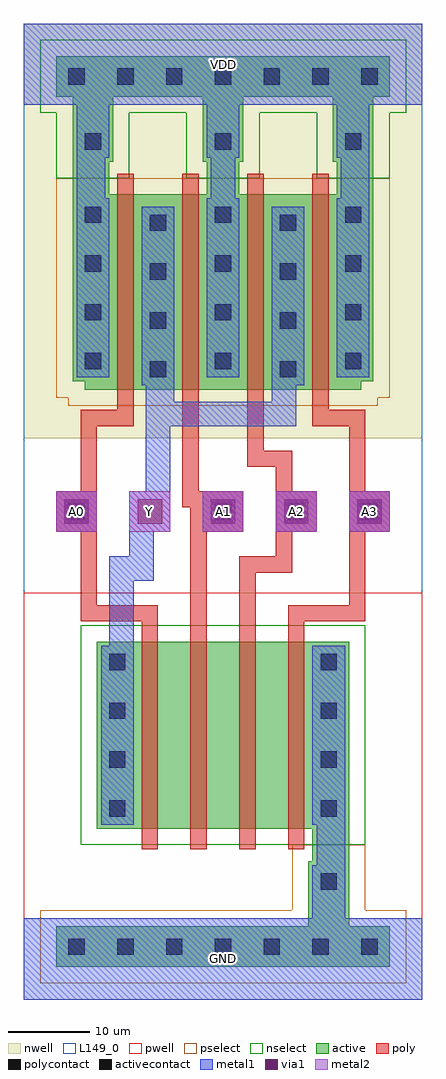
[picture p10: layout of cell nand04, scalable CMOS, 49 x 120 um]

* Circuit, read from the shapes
.subckt nand04 A0 A1 A2 A3 GND VDD Y
M1 n1 A0 Y GND nfet w=23u l=2u
M2 n2 A1 n1 GND nfet w=23u l=2u
M3 n3 A2 n2 GND nfet w=23u l=2u
M4 GND A3 n3 GND nfet w=23u l=2u
M5 Y A0 VDD VDD pfet w=24u l=2u
M6 VDD A1 Y VDD pfet w=24u l=2u
M7 Y A2 VDD VDD pfet w=24u l=2u
M8 VDD A3 Y VDD pfet w=24u l=2u
.ends

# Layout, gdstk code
from math import pi, radians
import gdstk
lib = gdstk.Library(unit=1e-6, precision=1e-09)
def R(c, l, rs):  # rectangles x0, y0, x1, y1
    for r in rs: c.add(gdstk.rectangle(r[:2], r[2:], *l))
def A(c, l, x, y, w, h, nx, ny, dx, dy):  # array of equal rectangles
    R(c, l, [(x+i*dx, y+j*dy, x+i*dx+w, y+j*dy+h) for i in range(nx) for j in range(ny)])
def P(c, l, *ps):  # polygons
    for p in ps: c.add(gdstk.Polygon(p, *l))
pwell = (41, 0)
nwell = (42, 0)
active = (43, 0)
pselect = (44, 0)
nselect = (45, 0)
poly = (46, 0)
polycontact = (47, 0)
activecontact = (48, 0)
metal1 = (49, 0)
via1 = (50, 0)
metal2 = (51, 0)
L149_0 = (149, 0)

via = lib.new_cell('via')
R(via, metal1, [(-2.5,-2.5,2.5,2.5)])
R(via, via1, [(-1.5,-1.5,1.5,1.5)])
R(via, metal2, [(-2.5,-2.5,2.5,2.5)])

nand04 = lib.new_cell('nand04')
R(nand04, pwell, [(0,0,49,50), (3,15,46,50)])
R(nand04, nwell, [(0,69,49,120)])
P(nand04, nwell, [(47.5,69),(47.5,70),(49,70),(49,105),(0,105),(0,70),(1.5,70),(1.5,69)])
A(nand04, active, 6, 103, 5, 8, 3, 1, 16, 0)
R(nand04, active, [(4,4,45,9), (35,9,40,17), (35.5,17,40,21), (9,21,14.5,44), (9,21,40,44), (34.5,21,40,44), (6,99,10.5,103), (22.5,99,26.5,103), (38.5,99,43,103), (4,111,45,116)])
P(nand04, active, [(11.5,75),(11.5,99),(6,99),(6,76),(7.5,76),(7.5,75)],
  [(41.5,75),(41.5,76),(43,76),(43,99),(6,99),(6,76),(7.5,76),(7.5,75)],
  [(41.5,75),(41.5,76),(43,76),(43,99),(37.5,99),(37.5,75)])
R(nand04, pselect, [(2,2,47,11), (33,11,42,19)])
P(nand04, pselect, [(43.5,73),(43.5,74),(45,74),(45,101),(4,101),(4,74),(5.5,74),(5.5,73)])
A(nand04, nselect, 4, 101, 9, 8, 3, 1, 16, 0)
R(nand04, nselect, [(7,19,42,46), (2,109,47,118)])
A(nand04, poly, 14.5, 18.5, 2, 2.5, 4, 2, 6, 25.5)
A(nand04, poly, 14.5, 21, 2, 23, 4, 1, 6, 0)
A(nand04, poly, 22, 57.5, 5, 5, 3, 1, 9, 0)
A(nand04, poly, 11.5, 72.5, 2, 2.5, 4, 2, 8, 26.5)
A(nand04, poly, 11.5, 75, 2, 24, 4, 1, 8, 0)
R(nand04, poly, [(4,57.5,9,62.5)])
A(nand04, polycontact, 23.5, 59, 2, 2, 3, 1, 9, 0)
R(nand04, polycontact, [(5.5,59,7.5,61)])
A(nand04, activecontact, 5.5, 5.5, 2, 2, 7, 2, 6, 107)
A(nand04, activecontact, 10.5, 22.5, 2, 2, 1, 4, 0, 6)
A(nand04, activecontact, 36.5, 22.5, 2, 2, 1, 4, 0, 6)
A(nand04, activecontact, 15.5, 76.5, 2, 2, 1, 4, 0, 6)
A(nand04, activecontact, 31.5, 76.5, 2, 2, 1, 4, 0, 6)
A(nand04, activecontact, 7.5, 77.5, 2, 2, 3, 4, 16, 6)
A(nand04, activecontact, 7.5, 104.5, 2, 2, 3, 1, 16, 0)
R(nand04, activecontact, [(36.5,13.5,38.5,15.5)])
A(nand04, metal1, 22.5, 58, 4, 4, 3, 1, 9, 0)
A(nand04, metal1, 6.5, 76.5, 4, 22, 3, 1, 16, 0)
A(nand04, metal1, 6.5, 103.5, 4, 6.5, 3, 1, 16, 0)
R(nand04, metal1, [(0,0,49,10), (35.5,10,39.5,16.5), (36,16.5,39.5,21.5), (9.5,21.5,13.5,43.5), (35.5,21.5,39.5,43.5), (4.5,58,8.5,62), (14.5,75.5,18.5,97.5), (30.5,75.5,34.5,97.5), (6.5,98.5,10,103.5), (23,98.5,26,103.5), (39,98.5,42.5,103.5), (0,110,49,120)])
A(nand04, metal2, 4, 57.5, 5, 5, 5, 1, 9, 0)
R(nand04, L149_0, [(0,0,49,120)])
nand04.add(gdstk.FlexPath([(16.5,47.5),(8,47.5),(8,57.5)], 2, ends="flush", simple_path=True, layer=46, datatype=0))  # poly
nand04.add(gdstk.FlexPath([(8,62.5),(8,71.5),(13.5,71.5)], 2, ends="flush", simple_path=True, layer=46, datatype=0))  # poly
nand04.add(gdstk.FlexPath([(35.5,71.5),(41,71.5),(41,62.5)], 2, ends="flush", simple_path=True, layer=46, datatype=0))  # poly
nand04.add(gdstk.FlexPath([(41,57.5),(41,47.5),(32.5,47.5)], 2, ends="flush", simple_path=True, layer=46, datatype=0))  # poly
nand04.add(gdstk.FlexPath([(32,57.5),(32,53.5),(27.5,53.5),(27.5,46.5)], 2, ends="flush", simple_path=True, layer=46, datatype=0))  # poly
nand04.add(gdstk.FlexPath([(28.5,72.5),(28.5,66.5),(32,66.5),(32,62.5)], 2, ends="flush", simple_path=True, layer=46, datatype=0))  # poly
nand04.add(gdstk.FlexPath([(21.5,46.5),(21.5,61.5),(20.5,61.5),(20.5,72.5)], 2, ends="flush", simple_path=True, layer=46, datatype=0))  # poly
nand04.add(gdstk.FlexPath([(16.5,75.5),(16.5,62.5)], 3, ends="flush", simple_path=True, layer=49, datatype=0))  # metal1
nand04.add(gdstk.FlexPath([(12,43.5),(12,53),(14.5,53),(14.5,57.5)], 3, ends="flush", simple_path=True, layer=49, datatype=0))  # metal1
nand04.add(gdstk.FlexPath([(32,75.5),(32,72),(17,72),(17,75.5)], 3, ends="flush", simple_path=True, layer=49, datatype=0))  # metal1
nand04.add(gdstk.Reference(via, (42.5,60)))
nand04.add(gdstk.Reference(via, (33.5,60)))
nand04.add(gdstk.Reference(via, (24.5,60)))
nand04.add(gdstk.Reference(via, (6.5,60), rotation=pi, x_reflection=True))
nand04.add(gdstk.Reference(via, (15.5,60)))
nand04.add(gdstk.Label('GND', (24.5,5), layer=2, texttype=0))
nand04.add(gdstk.Label('VDD', (24.5,115), layer=2, texttype=0))
nand04.add(gdstk.Label('A3', (42.5,60), layer=3, texttype=0))
nand04.add(gdstk.Label('A2', (33.5,60), layer=3, texttype=0))
nand04.add(gdstk.Label('A1', (24.5,60), layer=3, texttype=0))
nand04.add(gdstk.Label('A0', (6.5,60), layer=3, texttype=0))
nand04.add(gdstk.Label('Y', (15.5,60), layer=3, texttype=0))
nand04.add(gdstk.Label('GND', (24.5,5), layer=2, texttype=0))
nand04.add(gdstk.Label('VDD', (24.5,115), layer=2, texttype=0))
nand04.add(gdstk.Label('A3', (42.5,60), layer=3, texttype=0))
nand04.add(gdstk.Label('A2', (33.5,60), layer=3, texttype=0))
nand04.add(gdstk.Label('A1', (24.5,60), layer=3, texttype=0))
nand04.add(gdstk.Label('A0', (6.5,60), layer=3, texttype=0))
nand04.add(gdstk.Label('Y', (15.5,60), layer=3, texttype=0))

lib.write_gds('nand04.gds')
